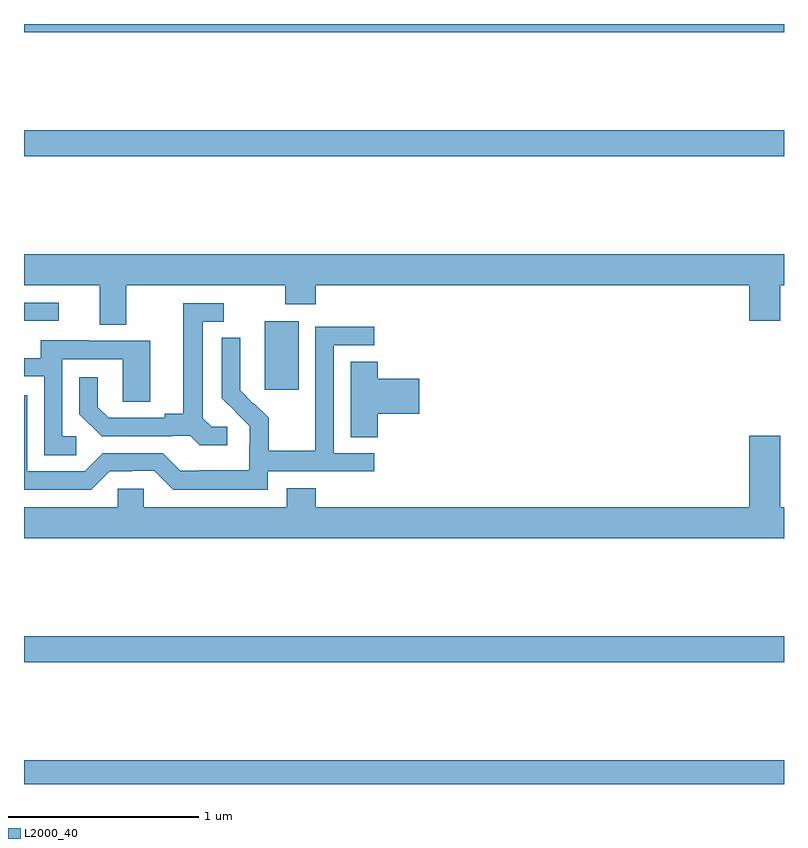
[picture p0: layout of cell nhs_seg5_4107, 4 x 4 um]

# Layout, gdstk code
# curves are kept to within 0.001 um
import gdstk
lib = gdstk.Library(unit=1e-6, precision=1e-09)
def R(c, l, rs):  # rectangles x0, y0, x1, y1
    for r in rs: c.add(gdstk.rectangle(r[:2], r[2:], *l))
def P(c, l, *ps):  # polygons
    for p in ps: c.add(gdstk.Polygon(p, *l))
L2000_40 = (2000, 40)

nhs_seg5_4107 = lib.new_cell('nhs_seg5_4107')
R(nhs_seg5_4107, L2000_40, [(353,856.799,357,856.924), (353,857.44,357,857.576), (354.266,858.873,354.445,859.234), (353,859.236,353.182,859.332), (353,860.104,357,860.24), (353,860.756,357,860.799)])
P(nhs_seg5_4107, L2000_40, [(353.539,859.424),(354.376,859.424),(354.376,859.325),(354.536,859.325),(354.536,859.424),(356.816,859.424),(356.816,859.236),(356.98,859.236),(356.98,859.424),(357,859.424),(357,859.588),(353,859.588),(353,859.424),(353.399,859.424),(353.399,859.216),(353.539,859.216)],
  [(354.07,858.678),(353.988,858.678),(353.941,858.725),(353.941,859.233),(354.052,859.233),(354.052,859.329),(353.837,859.329),(353.837,858.749),(353.741,858.749),(353.741,858.726),(353.446,858.726),(353.389,858.783),(353.389,858.94),(353.292,858.94),(353.292,858.746),(353.408,858.63),(353.78,858.63),(353.78,858.633),(353.874,858.633),(353.926,858.581),(354.07,858.581)],
  [(354.282,858.444),(354.844,858.444),(354.844,858.54),(354.63,858.54),(354.63,859.107),(354.844,859.107),(354.844,859.206),(354.534,859.206),(354.534,858.776),(354.532,858.776),(354.532,858.553),(354.287,858.553),(354.287,858.727),(354.21,858.804),(354.207,858.801),(354.137,858.872),(354.138,859.148),(354.042,859.148),(354.042,858.83),(354.188,858.682),(354.188,858.585),(354.186,858.585),(354.186,858.451),(353.923,858.451),(353.923,858.447),(353.823,858.447),(353.73,858.54),(353.415,858.54),(353.319,858.444),(353.016,858.444),(353.016,858.846),(353,858.846),(353,858.348),(353.355,858.348),(353.451,858.444),(353.57,858.444),(353.57,858.447),(353.685,858.447),(353.785,858.347),(354.282,858.347)],
  [(353.275,858.63),(353.202,858.63),(353.202,859.035),(353.52,859.035),(353.52,858.811),(353.665,858.811),(353.665,859.131),(353.341,859.131),(353.341,859.135),(353.087,859.135),(353.087,859.041),(353,859.041),(353,858.945),(353.106,858.945),(353.106,858.529),(353.275,858.529)],
  [(354.863,858.749),(355.081,858.749),(355.081,858.932),(354.863,858.932),(354.863,859.022),(354.719,859.022),(354.719,858.625),(354.863,858.625)],
  [(357,858.256),(356.98,858.256),(356.98,858.631),(356.816,858.631),(356.816,858.256),(354.536,858.256),(354.536,858.355),(354.383,858.355),(354.383,858.256),(353.631,858.256),(353.631,858.354),(353.493,858.354),(353.493,858.256),(353,858.256),(353,858.092),(357,858.092)])

lib.write_gds('nhs_seg5_4107.gds')
